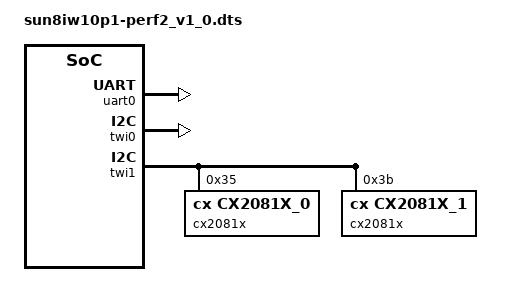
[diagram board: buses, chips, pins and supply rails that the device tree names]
/*
 * Allwinner Technology CO., Ltd. sun50iw2p1 pro board.
 *
 * pro board support.
 */

/dts-v1/;

#include "sun8iw10p1.dtsi"

/{

	soc@01c00000 {
		uart0: uart@01c28000 {
			status = "okay";
		};

		twi0: twi@0x01c2ac00 {
			status = "okay";
		};

		twi1: twi@0x01c2b000 {
			status = "okay";
			cx2081x@35{
				compatible = "cx,cx2081x_0";
				reg = <0x35>;
			};
			cx2081x@3b{
				compatible = "cx,cx2081x_1";
				reg = <0x3b>;
				voltage_enable = "audio-3v3";
			};

		};
		sndcodec:sound@0{
				#gpio-hp = <&pio PB 3 6 1 1 1 >;
		};
	};
};
